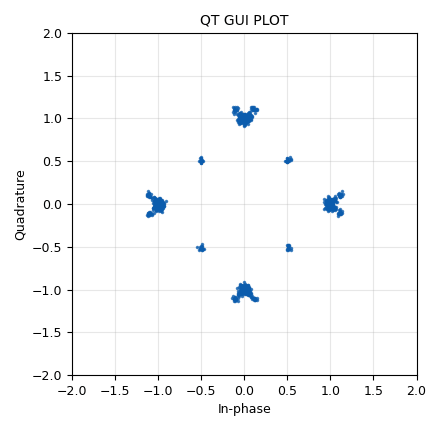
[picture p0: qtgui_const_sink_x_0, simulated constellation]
options:
  parameters:
    author: tao
    generate_options: qt_gui
    id: Third
    output_language: python
    title: Top_block
  states: {}

blocks:
- name: samp_rate
  id: variable
  parameters:
    value: '320000'
  states: {}
- name: analog_noise_source_x_0
  id: analog_noise_source_x
  parameters:
    amp: 25*0.001
    noise_type: analog.GR_GAUSSIAN
    seed: '0'
    type: complex
  states: {}
- name: analog_random_source_x_0
  id: analog_random_source_x
  parameters:
    max: '2'
    min: '0'
    num_samps: '10000000'
    repeat: 'True'
    type: byte
  states: {}
- name: blocks_add_xx_0
  id: blocks_add_xx
  parameters:
    type: complex
  states: {}
- name: blocks_throttle_0
  id: blocks_throttle
  parameters:
    samples_per_second: samp_rate
    type: complex
  states: {}
- name: digital_psk_mod_0
  id: digital_psk_mod
  parameters:
    constellation_points: '4'
    differential: 'True'
    excess_bw: 350*0.001
    mod_code: '"gray"'
    samples_per_symbol: '2'
  states: {}
- name: qtgui_const_sink_x_0
  id: qtgui_const_sink_x
  parameters:
    name: QT GUI PLOT
    size: '1024'
    type: complex
  states: {}

connections:
- [analog_noise_source_x_0, '0', blocks_add_xx_0, '1']
- [analog_random_source_x_0, '0', digital_psk_mod_0, '0']
- [blocks_add_xx_0, '0', blocks_throttle_0, '0']
- [blocks_throttle_0, '0', qtgui_const_sink_x_0, '0']
- [digital_psk_mod_0, '0', blocks_add_xx_0, '0']

metadata:
  file_format: 1
